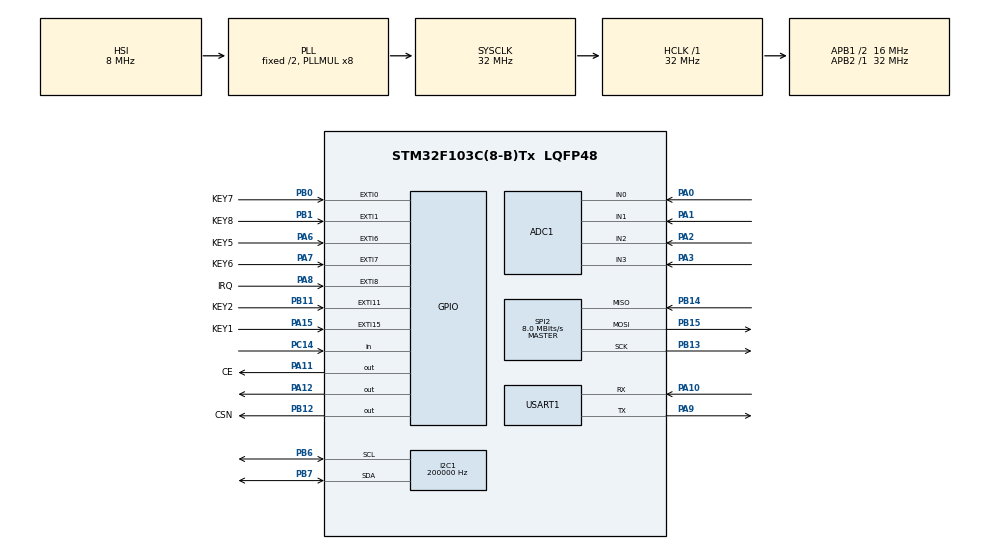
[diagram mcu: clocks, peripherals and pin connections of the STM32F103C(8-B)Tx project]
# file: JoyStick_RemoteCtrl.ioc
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ADC1.Channel-0\#ChannelRegularConversion=ADC_CHANNEL_0
ADC1.Channel-1\#ChannelRegularConversion=ADC_CHANNEL_1
ADC1.Channel-2\#ChannelRegularConversion=ADC_CHANNEL_2
ADC1.Channel-3\#ChannelRegularConversion=ADC_CHANNEL_3
ADC1.ContinuousConvMode=ENABLE
ADC1.NbrOfConversion=4
ADC1.NbrOfConversionFlag=1
ADC1.Rank-0\#ChannelRegularConversion=1
ADC1.Rank-1\#ChannelRegularConversion=2
ADC1.Rank-2\#ChannelRegularConversion=3
ADC1.Rank-3\#ChannelRegularConversion=4
ADC1.SamplingTime-0\#ChannelRegularConversion=ADC_SAMPLETIME_239CYCLES_5
ADC1.SamplingTime-1\#ChannelRegularConversion=ADC_SAMPLETIME_239CYCLES_5
ADC1.SamplingTime-2\#ChannelRegularConversion=ADC_SAMPLETIME_239CYCLES_5
ADC1.SamplingTime-3\#ChannelRegularConversion=ADC_SAMPLETIME_239CYCLES_5
ADC1.master=1
Dma.ADC1.0.Direction=DMA_PERIPH_TO_MEMORY
Dma.ADC1.0.Instance=DMA1_Channel1
Dma.ADC1.0.MemDataAlignment=DMA_MDATAALIGN_HALFWORD
Dma.ADC1.0.MemInc=DMA_MINC_ENABLE
Dma.ADC1.0.Mode=DMA_CIRCULAR
Dma.ADC1.0.PeriphDataAlignment=DMA_PDATAALIGN_HALFWORD
Dma.ADC1.0.PeriphInc=DMA_PINC_DISABLE
Dma.ADC1.0.Priority=DMA_PRIORITY_LOW
Dma.Request0=ADC1
I2C1.ClockSpeed=200000
I2C1.I2C_Mode=I2C_Fast
Mcu.Family=STM32F1
Mcu.Name=STM32F103C(8-B)Tx
Mcu.Package=LQFP48
NVIC.ADC1_2_IRQn=true\:2\:0\:true\:false\:true\:true\:true\:true
NVIC.DMA1_Channel1_IRQn=true\:0\:0\:false\:false\:true\:false\:true\:true
NVIC.EXTI0_IRQn=true\:0\:0\:false\:false\:true\:true\:true\:true
NVIC.EXTI15_10_IRQn=true\:0\:0\:true\:false\:true\:true\:true\:true
NVIC.EXTI1_IRQn=true\:0\:0\:false\:false\:true\:true\:true\:true
NVIC.EXTI9_5_IRQn=true\:0\:0\:false\:false\:true\:true\:true\:true
NVIC.PriorityGroup=NVIC_PRIORITYGROUP_4
NVIC.SPI2_IRQn=true\:0\:0\:false\:false\:true\:true\:true\:true
NVIC.USART1_IRQn=true\:0\:0\:false\:false\:true\:true\:true\:true
PA0-WKUP.Signal=ADCx_IN0
PA1.Signal=ADCx_IN1
PA10.Mode=Asynchronous
PA10.Signal=USART1_RX
PA11.GPIO_Label=CE
PA11.GPIO_Speed=GPIO_SPEED_FREQ_HIGH
PA11.Signal=GPIO_Output
PA12.Signal=GPIO_Output
PA13.Mode=Serial_Wire
PA13.Signal=SYS_JTMS-SWDIO
PA14.Mode=Serial_Wire
PA14.Signal=SYS_JTCK-SWCLK
PA15.GPIO_Label=KEY1
PA15.GPIO_ModeDefaultEXTI=GPIO_MODE_IT_RISING_FALLING
PA15.GPIO_PuPd=GPIO_PULLUP
PA15.Signal=GPXTI15
PA2.Signal=ADCx_IN2
PA3.Signal=ADCx_IN3
PA6.GPIO_Label=KEY5
PA6.Signal=GPXTI6
PA7.GPIO_Label=KEY6
PA7.Signal=GPXTI7
PA8.GPIO_Label=IRQ
PA8.GPIO_ModeDefaultEXTI=GPIO_MODE_IT_FALLING
PA8.Signal=GPXTI8
PA9.Mode=Asynchronous
PA9.Signal=USART1_TX
PB0.GPIO_Label=KEY7
PB0.GPIO_PuPd=GPIO_PULLUP
PB0.Signal=GPXTI0
PB1.GPIO_Label=KEY8
PB1.GPIO_PuPd=GPIO_PULLUP
PB1.Signal=GPXTI1
PB11.GPIO_Label=KEY2
PB11.GPIO_ModeDefaultEXTI=GPIO_MODE_IT_RISING_FALLING
PB11.GPIO_PuPd=GPIO_PULLUP
PB11.Signal=GPXTI11
PB12.GPIO_Label=CSN
PB12.GPIO_Speed=GPIO_SPEED_FREQ_HIGH
PB12.Signal=GPIO_Output
PB13.Mode=Full_Duplex_Master
PB13.Signal=SPI2_SCK
PB14.Mode=Full_Duplex_Master
PB14.Signal=SPI2_MISO
PB15.Mode=Full_Duplex_Master
PB15.Signal=SPI2_MOSI
PB6.Mode=I2C
PB6.Signal=I2C1_SCL
PB7.Mode=I2C
PB7.Signal=I2C1_SDA
PC14-OSC32_IN.GPIO_PuPd=GPIO_PULLUP
PC14-OSC32_IN.Signal=GPIO_Input
ProjectManager.HeapSize=0x200
ProjectManager.StackSize=0x400
ProjectManager.TargetToolchain=Makefile
RCC.ADCPresc=RCC_ADCPCLK2_DIV4
RCC.AHBFreq_Value=32000000
RCC.APB1CLKDivider=RCC_HCLK_DIV2
RCC.APB1Freq_Value=16000000
RCC.APB1TimFreq_Value=32000000
RCC.APB2Freq_Value=32000000
RCC.APB2TimFreq_Value=32000000
RCC.HCLKFreq_Value=32000000
RCC.PLLMUL=RCC_PLL_MUL8
RCC.SYSCLKFreq_VALUE=32000000
RCC.SYSCLKSource=RCC_SYSCLKSOURCE_PLLCLK
RCC.USBFreq_Value=32000000
SH.ADCx_IN0.0=ADC1_IN0,IN0
SH.ADCx_IN1.0=ADC1_IN1,IN1
SH.ADCx_IN2.0=ADC1_IN2,IN2
SH.ADCx_IN3.0=ADC1_IN3,IN3
SPI2.BaudRatePrescaler=SPI_BAUDRATEPRESCALER_2
SPI2.CalculateBaudRate=8.0 MBits/s
SPI2.Direction=SPI_DIRECTION_2LINES
SPI2.Mode=SPI_MODE_MASTER
SPI2.VirtualType=VM_MASTER
USART1.Parity=PARITY_EVEN
USART1.StopBits=STOPBITS_2
USART1.VirtualMode=VM_ASYNC
USART1.WordLength=WORDLENGTH_9B
board=custom

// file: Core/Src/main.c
/* USER CODE BEGIN Header */
/**
  ******************************************************************************
  * @file           : main.c
  * @brief          : Main program body
  ******************************************************************************
  * @attention
  *
  * Copyright (c) 2025 STMicroelectronics.
  * All rights reserved.
  *
  * This software is licensed under terms that can be found in the LICENSE file
  * in the root directory of this software component.
  * If no LICENSE file comes with this software, it is provided AS-IS.
  *
  ******************************************************************************
  */
/* USER CODE END Header */
#include "main.h"

/* USER CODE BEGIN Includes */
#include <stdint.h>
#include <string.h>
#include <stdio.h>
#include <stdlib.h>
#include <stdbool.h>
#include "nrf24_comm.h"
/* USER CODE END Includes */

ADC_HandleTypeDef hadc1;
DMA_HandleTypeDef hdma_adc1;

I2C_HandleTypeDef hi2c1;

SPI_HandleTypeDef hspi2;

UART_HandleTypeDef huart1;

/* USER CODE BEGIN PV */
// External declarations
extern NRF24_Status_t nrf24_status;

// Local variables
uint16_t adc_raw_buffer[4];
uint8_t AUX1=0;
uint8_t AUX2=0;
uint8_t AUX3=0;  // Added AUX3
uint8_t uart_buffer[12];  // Single buffer for UART communication

// Calibration variables
uint16_t adc_center[4];    // Center values for each channel
int16_t adc_calib_error[4];      // Calibration error between raw ADC and center values
uint16_t adc_min[4];       // Minimum ADC values for each channel
uint16_t adc_max[4];       // Maximum ADC values for each channel

// Filtering variables
float alpha = 0.1;         // Filter coefficient (0-1), lower = more smoothing
uint16_t adc_filtered[4];  // Filtered ADC values

// Remapping constants
#define CENTER_REGION 30   // Center region size (30 around center)
#define ADC_MAX 4095       // Maximum ADC value
#define ADC_MIN 0          // Minimum ADC value

// Buzzer control
#define BUZZER_PIN GPIO_PIN_12
#define BUZZER_PORT GPIOA

Beep_Control_t beep_control = {0};

// Function to start a non-blocking beep
static void start_beep(uint32_t duration_ms) {
    beep_control.start_time = HAL_GetTick();
    beep_control.duration = duration_ms;
    beep_control.is_beeping = true;
    HAL_GPIO_WritePin(BUZZER_PORT, BUZZER_PIN, GPIO_PIN_SET);
}

// Function to update beep state (call in main loop)
static void update_beep(void) {
    if (beep_control.is_beeping) {
        uint32_t current_time = HAL_GetTick();
        if (current_time - beep_control.start_time >= beep_control.duration) {
            beep_control.is_beeping = false;
            HAL_GPIO_WritePin(BUZZER_PORT, BUZZER_PIN, GPIO_PIN_RESET);
        }
    }
}
/* USER CODE END PV */

void SystemClock_Config(void);
static void MX_GPIO_Init(void);
static void MX_DMA_Init(void);
static void MX_ADC1_Init(void);
static void MX_USART1_UART_Init(void);
static void MX_I2C1_Init(void);
static void MX_SPI2_Init(void);

/* USER CODE BEGIN 0 */
uint16_t remap_adc_value(uint16_t raw_value, uint16_t center, uint16_t min_val, uint16_t max_val)
{
    // Ensure input is within bounds
    if (raw_value > ADC_MAX) raw_value = ADC_MAX;
    if (raw_value < ADC_MIN) raw_value = ADC_MIN;

    // If value is in center region, keep it unchanged
    if(abs((int16_t)raw_value - (int16_t)center) <= CENTER_REGION) {
        return center;
    }

    // Calculate mapping for lower region (min_val to center)
    if(raw_value < center) {
        // Ensure we don't divide by zero
        if (min_val >= center) return center;
        float ratio = (float)(center - ADC_MIN) / (float)(center - min_val);
        int32_t result = center - (int32_t)((center - raw_value) * ratio);
        // Ensure result stays within bounds
        if (result < ADC_MIN) result = ADC_MIN;
        if (result > ADC_MAX) result = ADC_MAX;
        return (uint16_t)result;
    }
    // Calculate mapping for upper region (center to max_val)
    else {
        // Ensure we don't divide by zero
        if (max_val <= center) return center;
        float ratio = (float)(ADC_MAX - center) / (float)(max_val - center);
        int32_t result = center + (int32_t)((raw_value - center) * ratio);
        // Ensure result stays within bounds
        if (result < ADC_MIN) result = ADC_MIN;
        if (result > ADC_MAX) result = ADC_MAX;
        return (uint16_t)result;
    }
}

void filter_adc_values(void)
{
    for(int i = 0; i < 4; i++) {
        // Calculate new filtered value with float precision
        float new_value = alpha * (float)adc_raw_buffer[i] + (1.0f - alpha) * (float)adc_filtered[i];

        // Ensure the filtered value stays within bounds
        if (new_value > ADC_MAX) new_value = ADC_MAX;
        if (new_value < ADC_MIN) new_value = ADC_MIN;

        // Update the filtered value
        adc_filtered[i] = (uint16_t)new_value;
    }
}

/*
void pack_and_transmit_uart(void)
{
    // Apply low-pass filtering
    filter_adc_values();

    // Process ADC values directly into tx_buffer
    tx_buffer.forward_vel = remap_adc_value(adc_filtered[2], adc_center[2], adc_min[2], adc_max[2]);
    tx_buffer.left_vel = remap_adc_value(adc_filtered[3], adc_center[3], adc_min[3], adc_max[3]);
    tx_buffer.angular_vel = remap_adc_value(adc_filtered[0], adc_center[0], adc_min[0], adc_max[0]);

    // Process dribbler
    uint16_t dribbler_val = remap_adc_value(adc_filtered[1], adc_center[1], adc_min[1], adc_max[1]);
    if (dribbler_val > 2048) {
        tx_buffer.dribbler = 0xC000 | (dribbler_val & 0x3FFF);
    } else {
        tx_buffer.dribbler = 0x0000;
    }

    // Update kicker states
    tx_buffer.kickers = (AUX1 ? 0xF0 : 0x00) | (AUX2 ? 0x0F : 0x00);

    // Pack into UART buffer with frame markers
    uart_buffer[0] = FRAME_HEAD;
    memcpy(uart_buffer + 1, &tx_buffer, NRF24_TX_BUFFER_SIZE);
    uart_buffer[11] = FRAME_END;

    // Transmit via UART
    while(huart1.gState != HAL_UART_STATE_READY);
    HAL_UART_Transmit(&huart1, uart_buffer, UART_BUFFER_SIZE, 100);
}
*/

void buzzer_beep(uint32_t duration_ms)
{
  HAL_GPIO_WritePin(BUZZER_PORT, BUZZER_PIN, GPIO_PIN_SET);
  HAL_Delay(duration_ms);
  HAL_GPIO_WritePin(BUZZER_PORT, BUZZER_PIN, GPIO_PIN_RESET);
}

void double_beep(void)
{
  buzzer_beep(100);
  HAL_Delay(100);
  buzzer_beep(100);
}
/* USER CODE END 0 */

int main(void)
{

    /* MCU Configuration--------------------------------------------------------*/
    HAL_Init();
    SystemClock_Config();

    MX_GPIO_Init();
    MX_DMA_Init();
    MX_ADC1_Init();
    MX_USART1_UART_Init();
    MX_I2C1_Init();
    MX_SPI2_Init();

    /* USER CODE BEGIN 2 */
    // Initialize buzzer
    HAL_GPIO_WritePin(GPIOA, GPIO_PIN_12, GPIO_PIN_SET);
    HAL_Delay(100);
    HAL_GPIO_WritePin(GPIOA, GPIO_PIN_12, GPIO_PIN_RESET);

    // Start ADC DMA
    HAL_ADC_Start_DMA(&hadc1, (uint32_t*)adc_raw_buffer, 4);
    HAL_Delay(100);  // Wait for ADC to stabilize

    // Initialize NRF24
    bool nrf24_init_success = NRF24_Comm_Init();
    (void)nrf24_init_success;
    HAL_Delay(500);

    // Wait until AUX3 (PC14) is pressed (input is LOW)
    while (HAL_GPIO_ReadPin(GPIOC, GPIO_PIN_14) != GPIO_PIN_RESET) {
    }

    // Turn off LED
    HAL_GPIO_WritePin(GPIOA, GPIO_PIN_12, GPIO_PIN_RESET);

    // Now do calibration using raw ADC values
    adc_center[0] = 2048; // CH1
    adc_center[1] = 0;    // CH2
    adc_center[2] = 2048; // CH3
    adc_center[3] = 2048; // CH4

    // Set min/max values for each channel
    adc_min[0] = 68;    // CH1 min
    adc_max[0] = 4098;  // CH1 max
    adc_min[1] = 0;     // CH2 min
    adc_max[1] = 4027;  // CH2 max
    adc_min[2] = 88;    // CH3 min
    adc_max[2] = 4119;  // CH3 max
    adc_min[3] = 114;   // CH4 min
    adc_max[3] = 4147;  // CH4 max

    // Calculate errors between raw ADC values and center values
    for(int i = 0; i < 4; i++) {
        adc_calib_error[i] = (int16_t)adc_raw_buffer[i] - (int16_t)adc_center[i];
    }

    // Initialize filtered values with current raw values
    for(int i = 0; i < 4; i++) {
        adc_filtered[i] = adc_raw_buffer[i];
    }

    // Double beep to indicate calibration complete
    double_beep();

    // NOW start UART reception after calibration
    HAL_UART_Receive_IT(&huart1, uart_buffer, UART_BUFFER_SIZE);

    while (1)
    {
        // Update beep state
        update_beep();

        // Check for UART timeout
        // if (nrf24_status.control_mode == CONTROL_MODE_UPLEVEL_UART) {
        //     uint32_t current_time = HAL_GetTick();
        //     if (current_time - nrf24_status.last_uart_time > UART_TIMEOUT_MS) {
        //         // Switch back to joystick control if no UART data received
        //         nrf24_status.control_mode = CONTROL_MODE_JOYSTICK;
        //     }
        // }

        // if (NRF24_Comm_CanLocalControlWrite()) {
        //     filter_adc_values();

        //     uint16_t adc_processed_values[4];
        //     for(int i = 0; i < 4; i++) {
        //         // Use signed arithmetic for error compensation
        //         int32_t value = (int32_t)adc_filtered[i] - (int32_t)adc_calib_error[i];

        //         // Bound check the result
        //         if (value < ADC_MIN) value = ADC_MIN;
        //         if (value > ADC_MAX) value = ADC_MAX;

        //         // Convert back to uint16_t after bounds checking
        //         uint16_t compensated = (uint16_t)value;

        //         // Now do the remapping
        //         adc_processed_values[i] = remap_adc_value(compensated, adc_center[i], adc_min[i], adc_max[i]);
        //     }

        //     NRF24_Comm_UpdateTxBuffer(adc_processed_values, AUX1, AUX2);
        // }

        NRF24_Comm_Transmit();
        NRF24_Comm_StatusFeedback();
    }
}

void SystemClock_Config(void)
{
  RCC_OscInitTypeDef RCC_OscInitStruct = {0};
  RCC_ClkInitTypeDef RCC_ClkInitStruct = {0};
  RCC_PeriphCLKInitTypeDef PeriphClkInit = {0};

  /** Initializes the RCC Oscillators according to the specified parameters
  * in the RCC_OscInitTypeDef structure.
  */
  RCC_OscInitStruct.OscillatorType = RCC_OSCILLATORTYPE_HSI;
  RCC_OscInitStruct.HSIState = RCC_HSI_ON;
  RCC_OscInitStruct.HSICalibrationValue = RCC_HSICALIBRATION_DEFAULT;
  RCC_OscInitStruct.PLL.PLLState = RCC_PLL_ON;
  RCC_OscInitStruct.PLL.PLLSource = RCC_PLLSOURCE_HSI_DIV2;
  RCC_OscInitStruct.PLL.PLLMUL = RCC_PLL_MUL8;
  if (HAL_RCC_OscConfig(&RCC_OscInitStruct) != HAL_OK)
  {
    Error_Handler();
  }

  /** Initializes the CPU, AHB and APB buses clocks
  */
  RCC_ClkInitStruct.ClockType = RCC_CLOCKTYPE_HCLK|RCC_CLOCKTYPE_SYSCLK
                              |RCC_CLOCKTYPE_PCLK1|RCC_CLOCKTYPE_PCLK2;
  RCC_ClkInitStruct.SYSCLKSource = RCC_SYSCLKSOURCE_PLLCLK;
  RCC_ClkInitStruct.AHBCLKDivider = RCC_SYSCLK_DIV1;
  RCC_ClkInitStruct.APB1CLKDivider = RCC_HCLK_DIV2;
  RCC_ClkInitStruct.APB2CLKDivider = RCC_HCLK_DIV1;

  if (HAL_RCC_ClockConfig(&RCC_ClkInitStruct, FLASH_LATENCY_1) != HAL_OK)
  {
    Error_Handler();
  }
  PeriphClkInit.PeriphClockSelection = RCC_PERIPHCLK_ADC;
  PeriphClkInit.AdcClockSelection = RCC_ADCPCLK2_DIV4;
  if (HAL_RCCEx_PeriphCLKConfig(&PeriphClkInit) != HAL_OK)
  {
    Error_Handler();
  }
}

static void MX_ADC1_Init(void)
{

  ADC_ChannelConfTypeDef sConfig = {0};

  /** Common config
  */
  hadc1.Instance = ADC1;
  hadc1.Init.ScanConvMode = ADC_SCAN_ENABLE;
  hadc1.Init.ContinuousConvMode = ENABLE;
  hadc1.Init.DiscontinuousConvMode = DISABLE;
  hadc1.Init.ExternalTrigConv = ADC_SOFTWARE_START;
  hadc1.Init.DataAlign = ADC_DATAALIGN_RIGHT;
  hadc1.Init.NbrOfConversion = 4;
  if (HAL_ADC_Init(&hadc1) != HAL_OK)
  {
    Error_Handler();
  }

  /** Configure Regular Channel
  */
  sConfig.Channel = ADC_CHANNEL_0;
  sConfig.Rank = ADC_REGULAR_RANK_1;
  sConfig.SamplingTime = ADC_SAMPLETIME_239CYCLES_5;
  if (HAL_ADC_ConfigChannel(&hadc1, &sConfig) != HAL_OK)
  {
    Error_Handler();
  }

  /** Configure Regular Channel
  */
  sConfig.Channel = ADC_CHANNEL_1;
  sConfig.Rank = ADC_REGULAR_RANK_2;
  if (HAL_ADC_ConfigChannel(&hadc1, &sConfig) != HAL_OK)
  {
    Error_Handler();
  }

  /** Configure Regular Channel
  */
  sConfig.Channel = ADC_CHANNEL_2;
  sConfig.Rank = ADC_REGULAR_RANK_3;
  if (HAL_ADC_ConfigChannel(&hadc1, &sConfig) != HAL_OK)
  {
    Error_Handler();
  }

  /** Configure Regular Channel
  */
  sConfig.Channel = ADC_CHANNEL_3;
  sConfig.Rank = ADC_REGULAR_RANK_4;
  if (HAL_ADC_ConfigChannel(&hadc1, &sConfig) != HAL_OK)
  {
    Error_Handler();
  }

}

static void MX_I2C1_Init(void)
{

  hi2c1.Instance = I2C1;
  hi2c1.Init.ClockSpeed = 200000;
  hi2c1.Init.DutyCycle = I2C_DUTYCYCLE_2;
  hi2c1.Init.OwnAddress1 = 0;
  hi2c1.Init.AddressingMode = I2C_ADDRESSINGMODE_7BIT;
  hi2c1.Init.DualAddressMode = I2C_DUALADDRESS_DISABLE;
  hi2c1.Init.OwnAddress2 = 0;
  hi2c1.Init.GeneralCallMode = I2C_GENERALCALL_DISABLE;
  hi2c1.Init.NoStretchMode = I2C_NOSTRETCH_DISABLE;
  if (HAL_I2C_Init(&hi2c1) != HAL_OK)
  {
    Error_Handler();
  }

}

static void MX_SPI2_Init(void)
{

  /* SPI2 parameter configuration*/
  hspi2.Instance = SPI2;
  hspi2.Init.Mode = SPI_MODE_MASTER;
  hspi2.Init.Direction = SPI_DIRECTION_2LINES;
  hspi2.Init.DataSize = SPI_DATASIZE_8BIT;
  hspi2.Init.CLKPolarity = SPI_POLARITY_LOW;
  hspi2.Init.CLKPhase = SPI_PHASE_1EDGE;
  hspi2.Init.NSS = SPI_NSS_SOFT;
  hspi2.Init.BaudRatePrescaler = SPI_BAUDRATEPRESCALER_2;
  hspi2.Init.FirstBit = SPI_FIRSTBIT_MSB;
  hspi2.Init.TIMode = SPI_TIMODE_DISABLE;
  hspi2.Init.CRCCalculation = SPI_CRCCALCULATION_DISABLE;
  hspi2.Init.CRCPolynomial = 10;
  if (HAL_SPI_Init(&hspi2) != HAL_OK)
  {
    Error_Handler();
  }

}

static void MX_USART1_UART_Init(void)
{

  huart1.Instance = USART1;
  huart1.Init.BaudRate = 115200;
  huart1.Init.WordLength = UART_WORDLENGTH_9B;
  huart1.Init.StopBits = UART_STOPBITS_2;
  huart1.Init.Parity = UART_PARITY_EVEN;
  huart1.Init.Mode = UART_MODE_TX_RX;
  huart1.Init.HwFlowCtl = UART_HWCONTROL_NONE;
  huart1.Init.OverSampling = UART_OVERSAMPLING_16;
  if (HAL_UART_Init(&huart1) != HAL_OK)
  {
    Error_Handler();
  }

}

static void MX_DMA_Init(void)
{

  /* DMA controller clock enable */
  __HAL_RCC_DMA1_CLK_ENABLE();

  /* DMA interrupt init */
  /* DMA1_Channel1_IRQn interrupt configuration */
  HAL_NVIC_SetPriority(DMA1_Channel1_IRQn, 0, 0);
  HAL_NVIC_EnableIRQ(DMA1_Channel1_IRQn);

}

static void MX_GPIO_Init(void)
{
  GPIO_InitTypeDef GPIO_InitStruct = {0};

  /* GPIO Ports Clock Enable */
  __HAL_RCC_GPIOC_CLK_ENABLE();
  __HAL_RCC_GPIOA_CLK_ENABLE();
  __HAL_RCC_GPIOB_CLK_ENABLE();

  /*Configure GPIO pin Output Level */
  HAL_GPIO_WritePin(CSN_GPIO_Port, CSN_Pin, GPIO_PIN_RESET);

  /*Configure GPIO pin Output Level */
  HAL_GPIO_WritePin(GPIOA, CE_Pin|GPIO_PIN_12, GPIO_PIN_RESET);

  /*Configure GPIO pin : PC14 */
  GPIO_InitStruct.Pin = GPIO_PIN_14;
  GPIO_InitStruct.Mode = GPIO_MODE_INPUT;
  GPIO_InitStruct.Pull = GPIO_PULLUP;
  HAL_GPIO_Init(GPIOC, &GPIO_InitStruct);

  /*Configure GPIO pins : KEY5_Pin KEY6_Pin */
  GPIO_InitStruct.Pin = KEY5_Pin|KEY6_Pin;
  GPIO_InitStruct.Mode = GPIO_MODE_IT_FALLING;
  GPIO_InitStruct.Pull = GPIO_PULLUP;
  HAL_GPIO_Init(GPIOA, &GPIO_InitStruct);

  /*Configure GPIO pins : KEY7_Pin KEY8_Pin */
  GPIO_InitStruct.Pin = KEY7_Pin|KEY8_Pin;
  GPIO_InitStruct.Mode = GPIO_MODE_IT_FALLING;
  GPIO_InitStruct.Pull = GPIO_PULLUP;
  HAL_GPIO_Init(GPIOB, &GPIO_InitStruct);

  /*Configure GPIO pin : KEY2_Pin */
  GPIO_InitStruct.Pin = KEY2_Pin;
  GPIO_InitStruct.Mode = GPIO_MODE_IT_RISING_FALLING;
  GPIO_InitStruct.Pull = GPIO_PULLUP;
  HAL_GPIO_Init(KEY2_GPIO_Port, &GPIO_InitStruct);

  /*Configure GPIO pin : CSN_Pin */
  GPIO_InitStruct.Pin = CSN_Pin;
  GPIO_InitStruct.Mode = GPIO_MODE_OUTPUT_PP;
  GPIO_InitStruct.Pull = GPIO_NOPULL;
  GPIO_InitStruct.Speed = GPIO_SPEED_FREQ_HIGH;
  HAL_GPIO_Init(CSN_GPIO_Port, &GPIO_InitStruct);

  /*Configure GPIO pin : IRQ_Pin */
  GPIO_InitStruct.Pin = IRQ_Pin;
  GPIO_InitStruct.Mode = GPIO_MODE_IT_FALLING;
  GPIO_InitStruct.Pull = GPIO_NOPULL;
  HAL_GPIO_Init(IRQ_GPIO_Port, &GPIO_InitStruct);

  /*Configure GPIO pin : CE_Pin */
  GPIO_InitStruct.Pin = CE_Pin;
  GPIO_InitStruct.Mode = GPIO_MODE_OUTPUT_PP;
  GPIO_InitStruct.Pull = GPIO_NOPULL;
  GPIO_InitStruct.Speed = GPIO_SPEED_FREQ_HIGH;
  HAL_GPIO_Init(CE_GPIO_Port, &GPIO_InitStruct);

  /*Configure GPIO pin : PA12 */
  GPIO_InitStruct.Pin = GPIO_PIN_12;
  GPIO_InitStruct.Mode = GPIO_MODE_OUTPUT_PP;
  GPIO_InitStruct.Pull = GPIO_NOPULL;
  GPIO_InitStruct.Speed = GPIO_SPEED_FREQ_LOW;
  HAL_GPIO_Init(GPIOA, &GPIO_InitStruct);

  /*Configure GPIO pin : KEY1_Pin */
  GPIO_InitStruct.Pin = KEY1_Pin;
  GPIO_InitStruct.Mode = GPIO_MODE_IT_RISING_FALLING;
  GPIO_InitStruct.Pull = GPIO_PULLUP;
  HAL_GPIO_Init(KEY1_GPIO_Port, &GPIO_InitStruct);

  /* EXTI interrupt init*/
  HAL_NVIC_SetPriority(EXTI0_IRQn, 0, 0);
  HAL_NVIC_EnableIRQ(EXTI0_IRQn);

  HAL_NVIC_SetPriority(EXTI1_IRQn, 0, 0);
  HAL_NVIC_EnableIRQ(EXTI1_IRQn);

  HAL_NVIC_SetPriority(EXTI9_5_IRQn, 0, 0);
  HAL_NVIC_EnableIRQ(EXTI9_5_IRQn);

  HAL_NVIC_SetPriority(EXTI15_10_IRQn, 0, 0);
  HAL_NVIC_EnableIRQ(EXTI15_10_IRQn);

}

/* USER CODE BEGIN 4 */

void HAL_ADC_ConvCpltCallback(ADC_HandleTypeDef* hadc)
{
}

void HAL_GPIO_EXTI_Callback(uint16_t GPIO_Pin)
{
    static uint32_t last_toggle_time_aux1 = 0;
    static uint32_t last_toggle_time_aux2 = 0;
    static uint32_t last_toggle_time_robotid = 0;
    uint32_t current_time = HAL_GetTick();

    // Handle Robot ID buttons (PB0 and PB1)
    if(GPIO_Pin == GPIO_PIN_0 || GPIO_Pin == GPIO_PIN_1) {
        if(current_time - last_toggle_time_robotid >= 100) {
            // PB0 is decrement, PB1 is increment
            if(GPIO_Pin == GPIO_PIN_0) {
                NRF24_Comm_UpdateRobotID(false);  // Decrement
            } else {
                NRF24_Comm_UpdateRobotID(true);   // Increment
            }
            last_toggle_time_robotid = current_time;
            start_beep(10);  // Short beep for robot ID change
        }
    }

    // Only process AUX buttons if in joystick mode
    if (NRF24_Comm_CanLocalControlWrite()) {
        // Handle AUX1 (PA15)
        if(GPIO_Pin == GPIO_PIN_15) {
            if(current_time - last_toggle_time_aux1 >= 100) {
                // Only toggle if button is actually pressed (LOW)
                if(HAL_GPIO_ReadPin(GPIOA, GPIO_PIN_15) == GPIO_PIN_RESET) {
                    AUX1 ^= 0x01;
                    last_toggle_time_aux1 = current_time;
                    start_beep(5);  // Very short beep for AUX1
                }
            }
        }

        // Handle AUX2 (PB11)
        if(GPIO_Pin == GPIO_PIN_11) {
            if(current_time - last_toggle_time_aux2 >= 100) {
                // Only toggle if button is actually pressed (LOW)
                if(HAL_GPIO_ReadPin(GPIOB, GPIO_PIN_11) == GPIO_PIN_RESET) {
                    AUX2 ^= 0x01;
                    last_toggle_time_aux2 = current_time;
                    start_beep(5);  // Very short beep for AUX2
                }
            }
        }
    }

    // Handle NRF24 IRQ interrupt (PA8)
    if(GPIO_Pin == IRQ_Pin) {
        NRF24_Comm_IRQ_Handler();
    }
}

// Add UART reception callback
void HAL_UART_RxCpltCallback(UART_HandleTypeDef *huart)
{
    if (huart->Instance == USART1) {
        // Process received UART data
        NRF24_Comm_UpdateFromUART(uart_buffer);

        // Restart UART reception
        HAL_UART_Receive_IT(&huart1, uart_buffer, UART_BUFFER_SIZE);
    }
}

void HAL_UART_ErrorCallback(UART_HandleTypeDef *huart)
{
    if (huart->Instance == USART1) {
        // On UART error, return control to joystick
        nrf24_status.control_mode = CONTROL_MODE_JOYSTICK;

        // Restart UART reception
        HAL_UART_Receive_IT(&huart1, uart_buffer, UART_BUFFER_SIZE);
    }
}

/* USER CODE END 4 */

void Error_Handler(void)
{
  __disable_irq();
  while (1)
  {
  }
}
